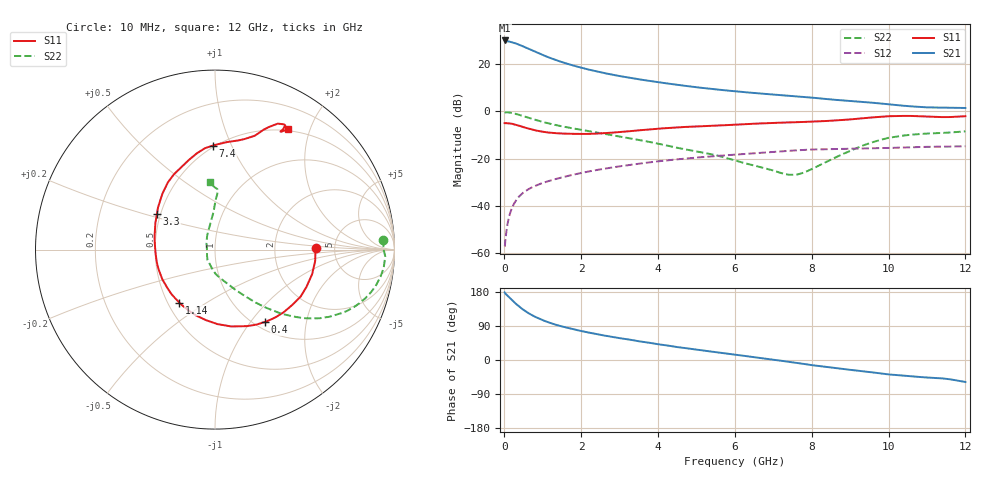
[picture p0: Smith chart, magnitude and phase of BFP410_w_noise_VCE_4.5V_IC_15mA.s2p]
! Infineon Technologies  Discrete & RF Semiconductors
! BFP410
! VCE =  4.5 V,  IC =  15 mA
! Common Emitter S-Parameters:  Nov 2015
# GHz  S  MA  R  50
!  f  S11  S21  S12  S22
! GHz  MAG  ANG  MAG  ANG  MAG  ANG  MAG  ANG
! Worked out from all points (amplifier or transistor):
!   243 points, 10 MHz to 12 GHz, reference 50 ohm
!   highest |S21| = 29.9 dB at 10 MHz (marker M1)
!   |S21| within 3 dB of that: start of sweep to 557.7 MHz
!   unconditionally stable (mu >= 1): start of sweep to 31.42 MHz; 2.108 GHz to end of sweep
!   at 240 MHz: K = 0.34, MSG = 34.3 dB, |S12| = -39.6 dB
!   at 1.84 GHz: K = 0.94, MSG = 22.9 dB, |S12| = -26.7 dB
!   at 12 GHz: K = 1.03, MAG = 7.1 dB, |S12| = -14.8 dB
!   lowest NFmin = 1.50 dB at 900 MHz
!   S11 on the Smith chart (normalised r, x): 10 MHz: 3.56, +0.07; 400 MHz: 1.11, -1.18; 1.14 GHz: 0.57, -0.39; 3.3 GHz: 0.48, +0.22; 7.4 GHz: 0.49, +0.85; 12 GHz: 0.48, +1.67
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0.01  0.5611 0.7  31.42 178.4  0.0014 29.4  0.9394 3.4
0.02  0.5597 -1.5  30.97 176.5  0.0015 45.3  0.9384 0.2
0.045  0.5611 -5.7  30.51 173.8  0.0024 58.5  0.9475 -1.9
0.1  0.5583 -14.2  30.1 168.5  0.0047 68.7  0.9453 -6.1
0.2  0.5441 -28.7  28.86 158.3  0.0089 70.9  0.9193 -12.4
0.3  0.5177 -42.5  27.21 148.7  0.0127 68.8  0.8798 -18.0
0.4  0.4902 -55.3  25.32 140.0  0.0161 66.3  0.8344 -22.8
0.5  0.4625 -67.2  23.38 132.3  0.0191 63.9  0.7871 -26.8
0.6  0.4378 -78.0  21.48 125.4  0.0217 62.0  0.7421 -30.2
0.74  0.4065 -91.7  19.1 117.4  0.025 60.0  0.6847 -34.0
0.9  0.3819 -105.9  16.77 109.4  0.0284 58.4  0.6274 -37.5
1.14  0.3558 -124.0  13.96 99.8  0.0331 57.0  0.5573 -41.4
1.54  0.3371 -147.8  10.71 87.5  0.0406 55.3  0.4728 -46.1
2.02  0.3312 -169.7  8.268 76.1  0.0497 53.2  0.4033 -50.4
2.6  0.3443 168.1  6.424 64.6  0.0607 49.8  0.332 -55.2
3.3  0.3799 148.4  5.052 53.1  0.0738 45.3  0.2646 -61.4
4.1  0.4331 131.5  4.014 40.3  0.0889 39.4  0.1985 -70.5
6.1  0.5244 105.2  2.601 12.8  0.1224 23.2  0.0865 -109.4
7.4  0.5795 91.3  2.13 -4.7  0.1458 11.8  0.0454 -167.8
8.2  0.6123 80.5  1.872 -16.0  0.1563 3.0  0.0717 129.8
10.2  0.7905 62.3  1.353 -39.7  0.169 -13.1  0.2904 88.5
12  0.7847 58.8  1.172 -58.0  0.182 -29.0  0.375 94.5
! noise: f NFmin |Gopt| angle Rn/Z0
0.45  1.52  0.06  -134  0.19
0.9  1.5  0.07  -151  0.16
1.8  1.61  0.12  -142  0.16
2.4  1.64  0.18  -123  0.21
5.5  2.49  0.39  -106  0.35
10  3.6  0.69  -47  2.16
